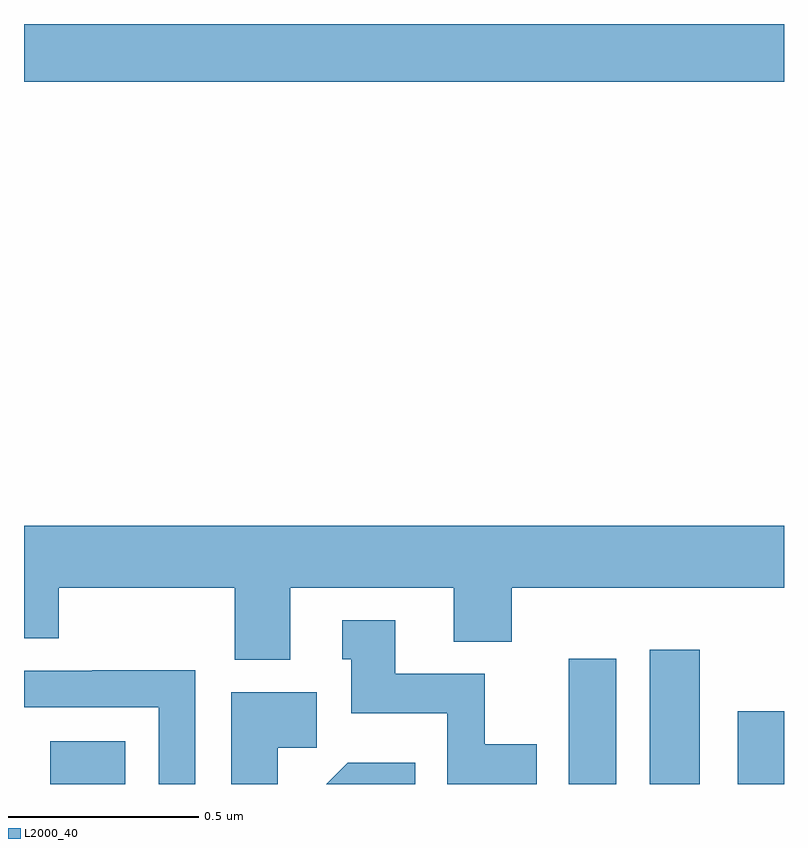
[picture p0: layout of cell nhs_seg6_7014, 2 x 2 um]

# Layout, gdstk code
import gdstk
lib = gdstk.Library(unit=1e-6, precision=1e-09)
def R(c, l, rs):  # rectangles x0, y0, x1, y1
    for r in rs: c.add(gdstk.rectangle(r[:2], r[2:], *l))
def P(c, l, *ps):  # polygons
    for p in ps: c.add(gdstk.Polygon(p, *l))
L2000_40 = (2000, 40)

nhs_seg6_7014 = lib.new_cell('nhs_seg6_7014')
R(nhs_seg6_7014, L2000_40, [(203.069,933.5,203.266,933.613), (204.434,933.5,204.559,933.829), (204.647,933.5,204.778,933.853), (204.878,933.5,205,933.691), (203,935.348,205,935.5)])
P(nhs_seg6_7014, L2000_40, [(203.701,934.016),(204.131,934.016),(204.131,933.875),(204.284,933.875),(204.284,934.016),(205,934.016),(205,934.18),(203,934.18),(203,933.883),(203.091,933.883),(203.091,934.016),(203.554,934.016),(203.554,933.827),(203.701,933.827)],
  [(204.349,933.604),(204.213,933.604),(204.213,933.79),(203.977,933.79),(203.977,933.931),(203.837,933.931),(203.837,933.828),(203.861,933.828),(203.861,933.686),(204.114,933.686),(204.114,933.5),(204.349,933.5)],
  [(203.451,933.8),(203.179,933.8),(203.179,933.798),(203,933.798),(203,933.702),(203.355,933.702),(203.355,933.5),(203.451,933.5)],
  [(203.668,933.595),(203.77,933.595),(203.77,933.742),(203.546,933.742),(203.546,933.5),(203.668,933.5)],
  [(204.029,933.556),(203.852,933.556),(203.796,933.5),(204.029,933.5)])

lib.write_gds('nhs_seg6_7014.gds')
